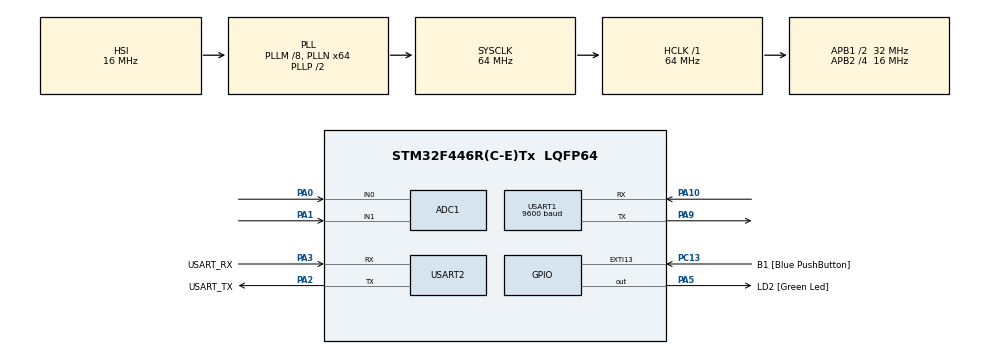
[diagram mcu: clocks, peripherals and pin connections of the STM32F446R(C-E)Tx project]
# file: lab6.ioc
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ADC1.Channel-0\#ChannelRegularConversion=ADC_CHANNEL_0
ADC1.Channel-1\#ChannelRegularConversion=ADC_CHANNEL_1
ADC1.ClockPrescaler=ADC_CLOCK_SYNC_PCLK_DIV8
ADC1.ContinuousConvMode=ENABLE
ADC1.DMAContinuousRequests=ENABLE
ADC1.NbrOfConversion=2
ADC1.NbrOfConversionFlag=1
ADC1.Rank-0\#ChannelRegularConversion=1
ADC1.Rank-1\#ChannelRegularConversion=2
ADC1.SamplingTime-0\#ChannelRegularConversion=ADC_SAMPLETIME_84CYCLES
ADC1.SamplingTime-1\#ChannelRegularConversion=ADC_SAMPLETIME_84CYCLES
ADC1.ScanConvMode=ENABLE
ADC1.master=1
Dma.ADC1.0.Direction=DMA_PERIPH_TO_MEMORY
Dma.ADC1.0.FIFOMode=DMA_FIFOMODE_DISABLE
Dma.ADC1.0.Instance=DMA2_Stream0
Dma.ADC1.0.MemDataAlignment=DMA_MDATAALIGN_HALFWORD
Dma.ADC1.0.MemInc=DMA_MINC_ENABLE
Dma.ADC1.0.Mode=DMA_CIRCULAR
Dma.ADC1.0.PeriphDataAlignment=DMA_PDATAALIGN_HALFWORD
Dma.ADC1.0.PeriphInc=DMA_PINC_DISABLE
Dma.ADC1.0.Priority=DMA_PRIORITY_LOW
Dma.Request0=ADC1
Mcu.Family=STM32F4
Mcu.Name=STM32F446R(C-E)Tx
Mcu.Package=LQFP64
NVIC.DMA2_Stream0_IRQn=true\:0\:0\:false\:false\:true\:false\:true\:true
NVIC.PriorityGroup=NVIC_PRIORITYGROUP_0
NVIC.USART1_IRQn=true\:0\:0\:false\:false\:true\:true\:true\:true
NVIC.USART2_IRQn=true\:0\:0\:false\:false\:true\:true\:true\:true
PA0-WKUP.Signal=ADCx_IN0
PA1.Signal=ADCx_IN1
PA10.Mode=Asynchronous
PA10.Signal=USART1_RX
PA13.GPIO_Label=TMS
PA13.Signal=SYS_JTMS-SWDIO
PA14.GPIO_Label=TCK
PA14.Signal=SYS_JTCK-SWCLK
PA2.GPIO_Label=USART_TX
PA2.Mode=Asynchronous
PA2.Signal=USART2_TX
PA3.GPIO_Label=USART_RX
PA3.Mode=Asynchronous
PA3.Signal=USART2_RX
PA5.GPIO_Label=LD2 [Green Led]
PA5.Signal=GPIO_Output
PA9.Mode=Asynchronous
PA9.Signal=USART1_TX
PB3.GPIO_Label=SWO
PB3.Signal=SYS_JTDO-SWO
PC13.GPIO_Label=B1 [Blue PushButton]
PC13.GPIO_ModeDefaultEXTI=GPIO_MODE_IT_FALLING
PC13.Signal=GPXTI13
PC14-OSC32_IN.Signal=RCC_OSC32_IN
PC15-OSC32_OUT.Signal=RCC_OSC32_OUT
PH0-OSC_IN.Signal=RCC_OSC_IN
PH1-OSC_OUT.Signal=RCC_OSC_OUT
ProjectManager.HeapSize=0x200
ProjectManager.StackSize=0x400
ProjectManager.TargetToolchain=STM32CubeIDE
RCC.AHBFreq_Value=64000000
RCC.APB1CLKDivider=RCC_HCLK_DIV2
RCC.APB1Freq_Value=32000000
RCC.APB1TimFreq_Value=64000000
RCC.APB2CLKDivider=RCC_HCLK_DIV4
RCC.APB2Freq_Value=16000000
RCC.APB2TimFreq_Value=32000000
RCC.CortexFreq_Value=64000000
RCC.FLatency-AdvancedSettings=FLASH_LATENCY_2
RCC.HCLKFreq_Value=64000000
RCC.HSE_VALUE=8000000
RCC.HSI_VALUE=16000000
RCC.LSE_VALUE=32768
RCC.PLLM=8
RCC.PLLN=64
RCC.SYSCLKFreq_VALUE=64000000
RCC.SYSCLKSource=RCC_SYSCLKSOURCE_PLLCLK
RCC.USBFreq_Value=64000000
RCC.VCOOutputFreq_Value=128000000
SH.ADCx_IN0.0=ADC1_IN0,IN0
SH.ADCx_IN1.0=ADC1_IN1,IN1
USART1.BaudRate=9600
USART1.VirtualMode=VM_ASYNC
USART2.VirtualMode=VM_ASYNC
board=NUCLEO-F446RE

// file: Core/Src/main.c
/* USER CODE BEGIN Header */
/**
  ******************************************************************************
  * @file           : main.c
  * @brief          : Main program body
  ******************************************************************************
  * @attention
  *
  * Copyright (c) 2026 STMicroelectronics.
  * All rights reserved.
  *
  * This software is licensed under terms that can be found in the LICENSE file
  * in the root directory of this software component.
  * If no LICENSE file comes with this software, it is provided AS-IS.
  *
  ******************************************************************************
  */
/* USER CODE END Header */
#include "main.h"

/* USER CODE BEGIN Includes */
#include <stdio.h>
#include <string.h>
/* USER CODE END Includes */

ADC_HandleTypeDef hadc1;
DMA_HandleTypeDef hdma_adc1;

UART_HandleTypeDef huart1;
UART_HandleTypeDef huart2;

/* USER CODE BEGIN PV */
volatile uint16_t adcBuffer[2];  // [0]=VRx, [1]=VRy  (ya lo tenés)

// --- Post Lab: recepción del ATmega ---
volatile uint8_t rxByte = 0;          // byte recibido por USART1
volatile uint8_t flagControl2 = 0;    // indica que llegó un comando
volatile uint8_t comandoControl2 = 0; // copia del comando recibido
/* USER CODE END PV */

void SystemClock_Config(void);
static void MX_GPIO_Init(void);
static void MX_DMA_Init(void);
static void MX_ADC1_Init(void);
static void MX_USART2_UART_Init(void);
static void MX_USART1_UART_Init(void);

int main(void)
{

  /* MCU Configuration--------------------------------------------------------*/

  /* Reset of all peripherals, Initializes the Flash interface and the Systick. */
  HAL_Init();

  /* Configure the system clock */
  SystemClock_Config();

  /* Initialize all configured peripherals */
  MX_GPIO_Init();
  MX_DMA_Init();
  MX_ADC1_Init();
  MX_USART2_UART_Init();
  MX_USART1_UART_Init();
  /* USER CODE BEGIN 2 */
  HAL_ADC_Start_DMA(&hadc1, (uint32_t*)adcBuffer, 2);
  HAL_UART_Receive_IT(&huart1, (uint8_t*)&rxByte, 1);  // esperar 1 byte por interrupción
  /* USER CODE END 2 */

  /* Infinite loop */
  while (1)
  {

    /* USER CODE BEGIN 3 */
      char msg[64];

      // ===== CONTROL 1: Joystick (ADC) =====
      if (adcBuffer[0] > 2048)
          sprintf(msg, "Control1: Arriba (%u)\r\n", adcBuffer[0]);
      else
          sprintf(msg, "Control1: Abajo (%u)\r\n", adcBuffer[0]);
      HAL_UART_Transmit(&huart2, (uint8_t*)msg, strlen(msg), HAL_MAX_DELAY);

      if (adcBuffer[1] > 2048)
          sprintf(msg, "Control1: Derecha (%u)\r\n", adcBuffer[1]);
      else
          sprintf(msg, "Control1: Izquierda (%u)\r\n", adcBuffer[1]);
      HAL_UART_Transmit(&huart2, (uint8_t*)msg, strlen(msg), HAL_MAX_DELAY);

      // ===== CONTROL 2: ATmega (UART RX interrupción) =====
      if (flagControl2)
      {
          flagControl2 = 0;
          switch (comandoControl2)
          {
              case 'U': sprintf(msg, "Control2: Arriba\r\n");    break;
              case 'D': sprintf(msg, "Control2: Abajo\r\n");     break;
              case 'L': sprintf(msg, "Control2: Izquierda\r\n"); break;
              case 'R': sprintf(msg, "Control2: Derecha\r\n");   break;
              case 'A': sprintf(msg, "Control2: A\r\n");         break;
              case 'B': sprintf(msg, "Control2: B\r\n");         break;
              default:  sprintf(msg, "Control2: ?\r\n");         break;
          }
          HAL_UART_Transmit(&huart2, (uint8_t*)msg, strlen(msg), HAL_MAX_DELAY);
      }

      HAL_Delay(200);
  /* USER CODE END 3 */
}
}
void SystemClock_Config(void)
{
  RCC_OscInitTypeDef RCC_OscInitStruct = {0};
  RCC_ClkInitTypeDef RCC_ClkInitStruct = {0};

  /** Configure the main internal regulator output voltage
  */
  __HAL_RCC_PWR_CLK_ENABLE();
  __HAL_PWR_VOLTAGESCALING_CONFIG(PWR_REGULATOR_VOLTAGE_SCALE3);

  /** Initializes the RCC Oscillators according to the specified parameters
  * in the RCC_OscInitTypeDef structure.
  */
  RCC_OscInitStruct.OscillatorType = RCC_OSCILLATORTYPE_HSI;
  RCC_OscInitStruct.HSIState = RCC_HSI_ON;
  RCC_OscInitStruct.HSICalibrationValue = RCC_HSICALIBRATION_DEFAULT;
  RCC_OscInitStruct.PLL.PLLState = RCC_PLL_ON;
  RCC_OscInitStruct.PLL.PLLSource = RCC_PLLSOURCE_HSI;
  RCC_OscInitStruct.PLL.PLLM = 8;
  RCC_OscInitStruct.PLL.PLLN = 64;
  RCC_OscInitStruct.PLL.PLLP = RCC_PLLP_DIV2;
  RCC_OscInitStruct.PLL.PLLQ = 2;
  RCC_OscInitStruct.PLL.PLLR = 2;
  if (HAL_RCC_OscConfig(&RCC_OscInitStruct) != HAL_OK)
  {
    Error_Handler();
  }

  /** Initializes the CPU, AHB and APB buses clocks
  */
  RCC_ClkInitStruct.ClockType = RCC_CLOCKTYPE_HCLK|RCC_CLOCKTYPE_SYSCLK
                              |RCC_CLOCKTYPE_PCLK1|RCC_CLOCKTYPE_PCLK2;
  RCC_ClkInitStruct.SYSCLKSource = RCC_SYSCLKSOURCE_PLLCLK;
  RCC_ClkInitStruct.AHBCLKDivider = RCC_SYSCLK_DIV1;
  RCC_ClkInitStruct.APB1CLKDivider = RCC_HCLK_DIV2;
  RCC_ClkInitStruct.APB2CLKDivider = RCC_HCLK_DIV4;

  if (HAL_RCC_ClockConfig(&RCC_ClkInitStruct, FLASH_LATENCY_2) != HAL_OK)
  {
    Error_Handler();
  }
}

static void MX_ADC1_Init(void)
{

  ADC_ChannelConfTypeDef sConfig = {0};

  /** Configure the global features of the ADC (Clock, Resolution, Data Alignment and number of conversion)
  */
  hadc1.Instance = ADC1;
  hadc1.Init.ClockPrescaler = ADC_CLOCK_SYNC_PCLK_DIV8;
  hadc1.Init.Resolution = ADC_RESOLUTION_12B;
  hadc1.Init.ScanConvMode = ENABLE;
  hadc1.Init.ContinuousConvMode = ENABLE;
  hadc1.Init.DiscontinuousConvMode = DISABLE;
  hadc1.Init.ExternalTrigConvEdge = ADC_EXTERNALTRIGCONVEDGE_NONE;
  hadc1.Init.ExternalTrigConv = ADC_SOFTWARE_START;
  hadc1.Init.DataAlign = ADC_DATAALIGN_RIGHT;
  hadc1.Init.NbrOfConversion = 2;
  hadc1.Init.DMAContinuousRequests = ENABLE;
  hadc1.Init.EOCSelection = ADC_EOC_SINGLE_CONV;
  if (HAL_ADC_Init(&hadc1) != HAL_OK)
  {
    Error_Handler();
  }

  /** Configure for the selected ADC regular channel its corresponding rank in the sequencer and its sample time.
  */
  sConfig.Channel = ADC_CHANNEL_0;
  sConfig.Rank = 1;
  sConfig.SamplingTime = ADC_SAMPLETIME_84CYCLES;
  if (HAL_ADC_ConfigChannel(&hadc1, &sConfig) != HAL_OK)
  {
    Error_Handler();
  }

  /** Configure for the selected ADC regular channel its corresponding rank in the sequencer and its sample time.
  */
  sConfig.Channel = ADC_CHANNEL_1;
  sConfig.Rank = 2;
  if (HAL_ADC_ConfigChannel(&hadc1, &sConfig) != HAL_OK)
  {
    Error_Handler();
  }

}

static void MX_USART1_UART_Init(void)
{

  huart1.Instance = USART1;
  huart1.Init.BaudRate = 9600;
  huart1.Init.WordLength = UART_WORDLENGTH_8B;
  huart1.Init.StopBits = UART_STOPBITS_1;
  huart1.Init.Parity = UART_PARITY_NONE;
  huart1.Init.Mode = UART_MODE_TX_RX;
  huart1.Init.HwFlowCtl = UART_HWCONTROL_NONE;
  huart1.Init.OverSampling = UART_OVERSAMPLING_16;
  if (HAL_UART_Init(&huart1) != HAL_OK)
  {
    Error_Handler();
  }

}

static void MX_USART2_UART_Init(void)
{

  huart2.Instance = USART2;
  huart2.Init.BaudRate = 115200;
  huart2.Init.WordLength = UART_WORDLENGTH_8B;
  huart2.Init.StopBits = UART_STOPBITS_1;
  huart2.Init.Parity = UART_PARITY_NONE;
  huart2.Init.Mode = UART_MODE_TX_RX;
  huart2.Init.HwFlowCtl = UART_HWCONTROL_NONE;
  huart2.Init.OverSampling = UART_OVERSAMPLING_16;
  if (HAL_UART_Init(&huart2) != HAL_OK)
  {
    Error_Handler();
  }

}

static void MX_DMA_Init(void)
{

  /* DMA controller clock enable */
  __HAL_RCC_DMA2_CLK_ENABLE();

  /* DMA interrupt init */
  /* DMA2_Stream0_IRQn interrupt configuration */
  HAL_NVIC_SetPriority(DMA2_Stream0_IRQn, 0, 0);
  HAL_NVIC_EnableIRQ(DMA2_Stream0_IRQn);

}

static void MX_GPIO_Init(void)
{
  GPIO_InitTypeDef GPIO_InitStruct = {0};

  /* GPIO Ports Clock Enable */
  __HAL_RCC_GPIOC_CLK_ENABLE();
  __HAL_RCC_GPIOH_CLK_ENABLE();
  __HAL_RCC_GPIOA_CLK_ENABLE();
  __HAL_RCC_GPIOB_CLK_ENABLE();

  /*Configure GPIO pin Output Level */
  HAL_GPIO_WritePin(LD2_GPIO_Port, LD2_Pin, GPIO_PIN_RESET);

  /*Configure GPIO pin : B1_Pin */
  GPIO_InitStruct.Pin = B1_Pin;
  GPIO_InitStruct.Mode = GPIO_MODE_IT_FALLING;
  GPIO_InitStruct.Pull = GPIO_NOPULL;
  HAL_GPIO_Init(B1_GPIO_Port, &GPIO_InitStruct);

  /*Configure GPIO pin : LD2_Pin */
  GPIO_InitStruct.Pin = LD2_Pin;
  GPIO_InitStruct.Mode = GPIO_MODE_OUTPUT_PP;
  GPIO_InitStruct.Pull = GPIO_NOPULL;
  GPIO_InitStruct.Speed = GPIO_SPEED_FREQ_LOW;
  HAL_GPIO_Init(LD2_GPIO_Port, &GPIO_InitStruct);

}

/* USER CODE BEGIN 4 */
void HAL_UART_RxCpltCallback(UART_HandleTypeDef *huart)
{
    if (huart->Instance == USART1)
    {
        comandoControl2 = rxByte;
        flagControl2 = 1;
        HAL_UART_Receive_IT(&huart1, (uint8_t*)&rxByte, 1);  // re-armar para el siguiente byte
    }
}
/* USER CODE END 4 */

void Error_Handler(void)
{
  __disable_irq();
  while (1)
  {
  }
}
